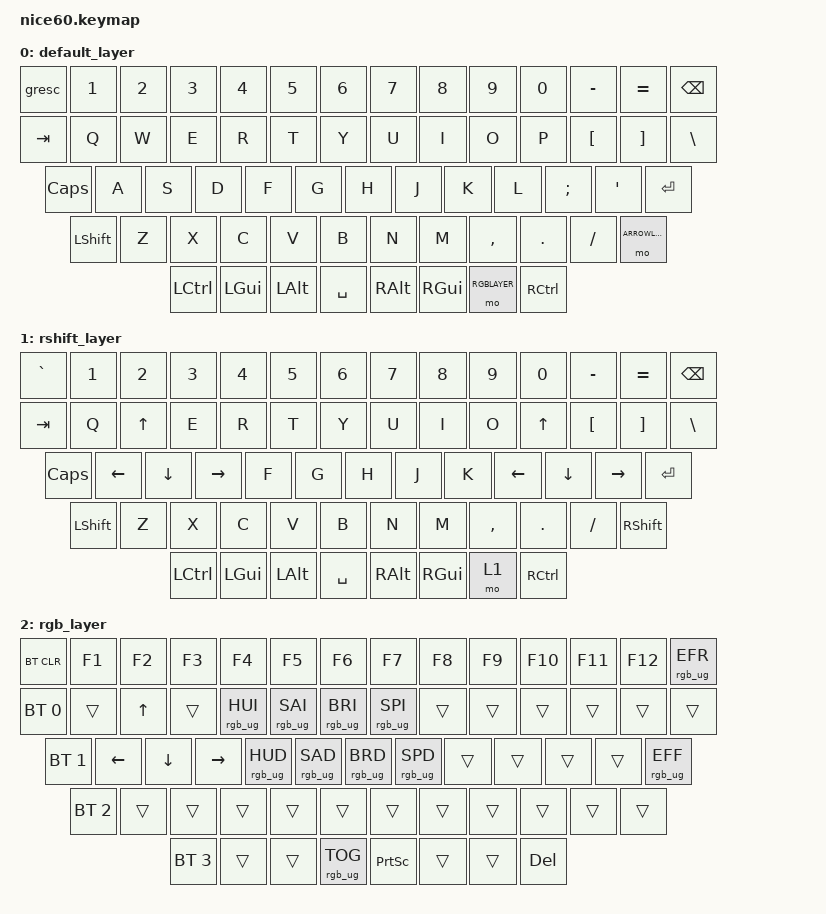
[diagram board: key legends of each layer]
/*
 * Copyright (c) 2021 Nick Winans
 *
 * SPDX-License-Identifier: MIT
 */

#include <behaviors.dtsi>
#include <dt-bindings/zmk/keys.h>
#include <dt-bindings/zmk/rgb.h>
#include <dt-bindings/zmk/bt.h>
#define DEFAULT 0
#define ARROWLAYER 1
#define RGBLAYER 2

#define NONE 0
/ {
	keymap {
		compatible = "zmk,keymap";
		
		default_layer {
// ------------------------------------------------------------------------------------------
// | ESC |  1  |  2  |  3  |  4  |  5  |  6  |  7  |  8  |  9  |  0  |  -  |  =  |   BKSP   |
// | TAB  |  Q  |  W  |  E  |  R  |  T  |  Y  |  U  |  I  |  O  |  P  |  [  |  ]  |   "|"   |
// | CAPS  |  A  |  S  |  D  |  F  |  G  |  H  |  J  |  K  |  L  |  ;  |  '  |     ENTER    |
// |  SHIFT  |  Z  |  X  |  C  |  V  |  B  |  N  |  M  |  ,  |  .  |  /  |      SHIFT       |
// |  CTL  |  WIN  |  ALT  |            SPACE              |  ALT  |  WIN  |  MO(1) |  CTL  |
// ------------------------------------------------------------------------------------------
			bindings = <
	&gresc  &kp N1 &kp N2 &kp N3 &kp N4 &kp N5 &kp N6 &kp N7 &kp N8 &kp N9 &kp N0 &kp MINUS &kp EQUAL  &kp BSPC
	&kp TAB  &kp Q  &kp W  &kp E  &kp R  &kp T  &kp Y  &kp U  &kp I  &kp O  &kp P  &kp LBKT  &kp RBKT  &kp BSLH
	&kp CLCK  &kp A  &kp S  &kp D  &kp F  &kp G  &kp H  &kp J  &kp K  &kp L  &kp SEMI &kp SQT           &kp RET
	&kp LSHFT   &kp Z  &kp X  &kp C  &kp V  &kp B  &kp N  &kp M  &kp COMMA &kp DOT &kp FSLH           &mo ARROWLAYER
	&kp LCTRL &kp LGUI &kp LALT             &kp SPACE                     &kp RALT  &kp RGUI  &mo RGBLAYER   &kp RCTRL
			>;
		};

		rshift_layer {
// ------------------------------------------------------------------------------------------
// | ` |  1  |  2  |  3  |  4  |  5  |  6  |  7  |  8  |  9  |  0  |  -  |  =  |   BKSP     |
// | TAB  |  Q  |  ⬆  |  E  |  R  |  T  |  Y  |  U  |  I  |  O  |  ⬆  |  [  |  ]  |   "|"   |
// | CAPS  |  ⬅  |  ⬇  |  ⮕  |  F  |  G  |  H  |  J  |  K  |  ⬅  |  ⬇  |  ⮕  |     ENTER   |
// |  SHIFT  |  Z  |  X  |  C  |  V  |  B  |  N  |  M  |  ,  |  .  |  /  |      SHIFT       |
// |  CTL  |  WIN  |  ALT  |            SPACE              |  ALT  |  WIN  |  MO(1) |  CTL  |
// ------------------------------------------------------------------------------------------
			bindings = <
	&kp GRAVE  &kp N1 &kp N2 &kp N3 &kp N4 &kp N5 &kp N6 &kp N7 &kp N8 &kp N9 &kp N0 &kp MINUS &kp EQUAL  &kp BSPC
	&kp TAB  &kp Q  &kp UP_ARROW  &kp E  &kp R  &kp T  &kp Y  &kp U  &kp I  &kp O  &kp UP_ARROW  &kp LBKT  &kp RBKT  &kp BSLH
	&kp CLCK  &kp LEFT_ARROW  &kp DOWN_ARROW  &kp RIGHT_ARROW  &kp F  &kp G  &kp H  &kp J  &kp K  &kp LEFT_ARROW  &kp DOWN_ARROW &kp RIGHT_ARROW           &kp RET
	&kp LSHFT   &kp Z  &kp X  &kp C  &kp V  &kp B  &kp N  &kp M  &kp COMMA &kp DOT &kp FSLH           &kp RSHFT
	&kp LCTRL &kp LGUI &kp LALT             &kp SPACE                     &kp RALT  &kp RGUI  &mo 1   &kp RCTRL
			>;
		};

		rgb_layer {
// ------------------------------------------------------------------------------------------------
// | BT CLR | F1  | F2  | F3  | F4  | F5  | F6  | F7  | F8  | F9  | F10  | F11 | F12 | EFFECT REV |
// |  BT 1   |   |  UP |   | HUEUP | SATUP | BRIUP | SPDUP |   |     |    |     |     |           |
// |   BT 2   | LT |  DN  | RT | HUEDN | SATDN | BRIDN | SPDDN |   |     |   |     |  EFFECT FORW |
// |    BT 3     |     |      |      |     |     |     |     |     |     |     |                  |
// |   BT 4  |      |      |             TOG RGB                | PRT SCR |       |       |  DEL  |
// ------------------------------------------------------------------------------------------------
			bindings = <
	&bt BT_CLR   &kp F1    &kp F2    &kp F3  &kp F4           &kp F5          &kp F6          &kp F7          &kp F8   &kp F9   &kp F10  &kp F11 &kp F12  &rgb_ug RGB_EFR
	&bt BT_SEL 0  &trans    &kp UP    &trans  &rgb_ug RGB_HUI  &rgb_ug RGB_SAI &rgb_ug RGB_BRI &rgb_ug RGB_SPI  &trans   &trans   &trans   &trans  &trans          &trans 
	&bt BT_SEL 1   &kp LEFT  &kp DOWN  &kp RIGHT &rgb_ug RGB_HUD &rgb_ug RGB_SAD &rgb_ug RGB_BRD &rgb_ug RGB_SPD &trans   &trans   &trans   &trans        &rgb_ug RGB_EFF
	&bt BT_SEL 2    &trans    &trans    &trans   &trans          &trans          &trans          &trans          &trans   &trans   &trans                          &trans
	&bt BT_SEL 3  &trans   &trans                            &rgb_ug RGB_TOG                                      &kp PSCRN      &trans      &trans               &kp DEL
			>;
		};
	};

};
